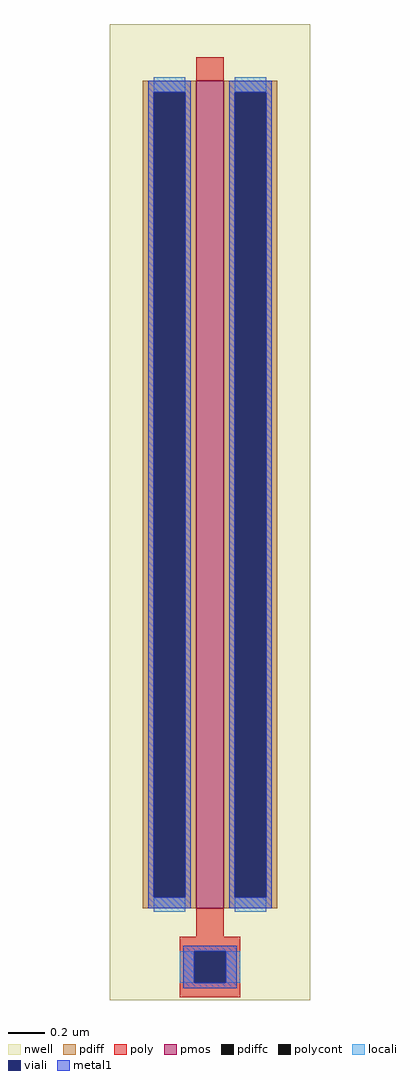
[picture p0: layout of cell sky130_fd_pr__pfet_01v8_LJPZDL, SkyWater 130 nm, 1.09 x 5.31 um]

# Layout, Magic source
magic
tech sky130A
magscale 1 2
<< nwell >>
rect -109 -514 109 548
<< pmos >>
rect -15 -414 15 486
<< pdiff >>
rect -73 474 -15 486
rect -73 -402 -61 474
rect -27 -402 -15 474
rect -73 -414 -15 -402
rect 15 474 73 486
rect 15 -402 27 474
rect 61 -402 73 474
rect 15 -414 73 -402
<< pdiffc >>
rect -61 -402 -27 474
rect 27 -402 61 474
<< poly >>
rect -15 486 15 512
rect -15 -445 15 -414
rect -33 -461 33 -445
rect -33 -495 -17 -461
rect 17 -495 33 -461
rect -33 -511 33 -495
<< polycont >>
rect -17 -495 17 -461
<< locali >>
rect -61 474 -27 490
rect -61 -418 -27 -402
rect 27 474 61 490
rect 27 -418 61 -402
rect -33 -495 -17 -461
rect 17 -495 33 -461
<< viali >>
rect -61 -402 -27 474
rect 27 -402 61 474
rect -17 -495 17 -461
<< metal1 >>
rect -67 474 -21 486
rect -67 -402 -61 474
rect -27 -402 -21 474
rect -67 -414 -21 -402
rect 21 474 67 486
rect 21 -402 27 474
rect 61 -402 67 474
rect 21 -414 67 -402
rect -29 -461 29 -455
rect -29 -495 -17 -461
rect 17 -495 29 -461
rect -29 -501 29 -495
<< properties >>
string gencell sky130_fd_pr__pfet_01v8
string library sky130
string parameters w 4.5 l 0.15 m 1 nf 1 diffcov 100 polycov 100 guard 0 glc 1 grc 1 gtc 1 gbc 1 tbcov 100 rlcov 100 topc 0 botc 1 poverlap 0 doverlap 1 lmin 0.15 wmin 0.42 compatible {sky130_fd_pr__pfet_01v8  sky130_fd_pr__pfet_01v8_lvt sky130_fd_pr__pfet_01v8_hvt  sky130_fd_pr__pfet_g5v0d10v5} full_metal 1 viasrc 100 viadrn 100 viagate 100 viagb 0 viagr 0 viagl 0 viagt 0
<< end >>
